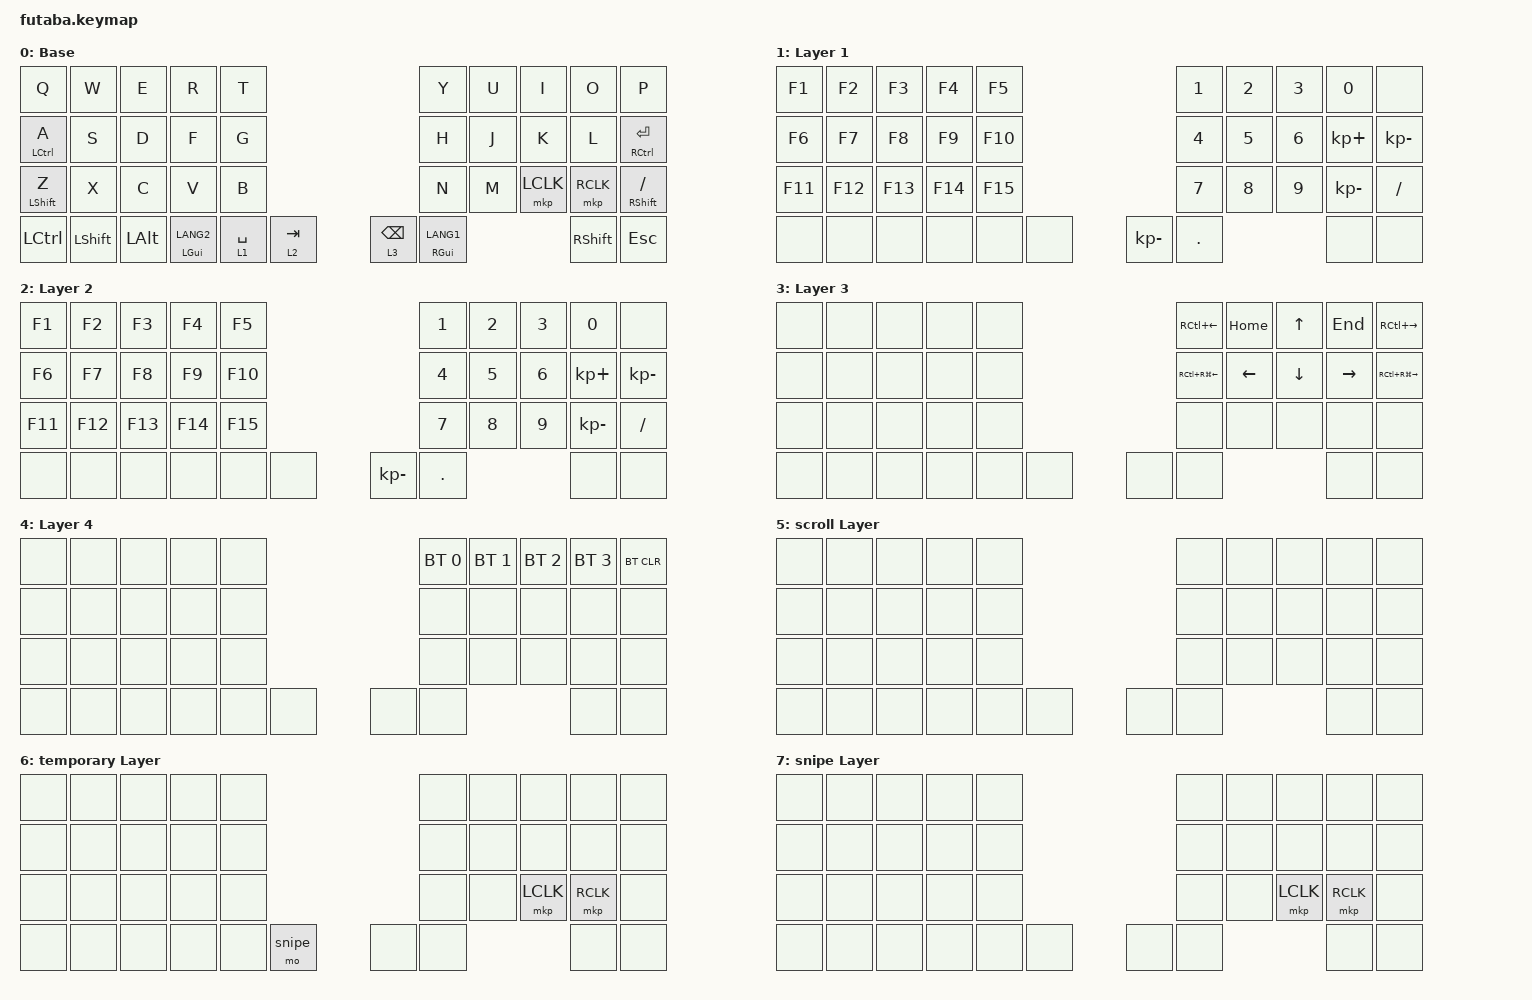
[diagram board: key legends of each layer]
#include <behaviors.dtsi>
#include <dt-bindings/zmk/keys.h>

#include <input/processors.dtsi>
#include <dt-bindings/zmk/bt.h>

#define ZMK_POINTING_DEFAULT_MOVE_VAL 200000  // default: 600
#define ZMK_POINTING_DEFAULT_SCRL_VAL 20    // default: 10
#include <dt-bindings/zmk/pointing.h>

#define scroll 5
#define temporary 6
#define snipe 7

/ {
    combos {
        compatible = "zmk,combos";

        combo_layer4 {
            layers = <0 1 2>;
            timeout-ms = <50>;
            key-positions = <34 35>;
            bindings = <&mo 4>;
            slow-release;
        };
        combo_scroller {
            layers = <0 11>;
            timeout-ms = <50>;
            key-positions = <27 28>;
            bindings = <&mo 10>;
            slow-release; 
        };
    };
};

/ {
keymap {
        compatible = "zmk,keymap";

        default_layer {
            display-name = "Base";
            bindings = <
                           &kp Q &kp W &kp E &kp R &kp T &kp Y &kp U &kp I &kp O &kp P
                           &mt LCTRL A &kp S &kp D &kp F &kp G &kp H &kp J &kp K &kp L &mt RCTRL ENTER
                           &mt LSHIFT Z &kp X &kp C &kp V &kp B &kp N &kp M &mkp LCLK &mkp RCLK &mt RSHIFT SLASH
                           &kp LCTRL &kp LSHIFT &kp LALT &mt LGUI LANG2 &lt 1 SPACE &lt 2 TAB &lt 3 BSPC &mt RGUI LANG1 &kp RSHIFT &kp ESC
            >;
        };
        layer_1 {
            display-name = "Layer 1";
            bindings = <
                           &kp F1 &kp F2 &kp F3 &kp F4 &kp F5 &kp N1 &kp N2 &kp N3 &kp N0 &none
                           &kp F6 &kp F7 &kp F8 &kp F9 &kp F10 &kp N4 &kp N5 &kp N6 &kp KP_PLUS &kp KP_MINUS
                           &kp F11 &kp F12 &kp F13 &kp F14 &kp F15 &kp N7 &kp N8 &kp N9 &kp KP_MINUS &kp SLASH
                           &none &none &none &none &none &none &kp KP_MINUS &kp DOT &none &none
            >;
        };
        layer_2 {
            display-name = "Layer 2";
            bindings = <
                           &kp F1 &kp F2 &kp F3 &kp F4 &kp F5 &kp N1 &kp N2 &kp N3 &kp N0 &none
                           &kp F6 &kp F7 &kp F8 &kp F9 &kp F10 &kp N4 &kp N5 &kp N6 &kp KP_PLUS &kp KP_MINUS
                           &kp F11 &kp F12 &kp F13 &kp F14 &kp F15 &kp N7 &kp N8 &kp N9 &kp KP_MINUS &kp SLASH
                           &none &none &none &none &none &none &kp KP_MINUS &kp DOT &none &none
            >;
        };
        layer_3 {
            display-name = "Layer 3";
            bindings = <
                           &none &none &none &none &none &kp RC(LEFT) &kp HOME &kp UP &kp END &kp RC(RIGHT)
                           &none &none &none &none &none &kp RC(RG(LEFT)) &kp LEFT &kp DOWN &kp RIGHT &kp RC(RG(RIGHT))
                           &none &none &none &none &none &none &none &none &none &none
                           &none &none &none &none &none &none &none &none &none &none
            >;
        };
        layer_4 {
            display-name = "Layer 4";
            bindings = <
                           &none &none &none &none &none &bt BT_SEL 0 &bt BT_SEL 1 &bt BT_SEL 2 &bt BT_SEL 3 &bt BT_CLR
                           &none &none &none &none &none &none &none &none &none &none
                           &none &none &none &none &none &none &none &none &none &none
                           &none &none &none &none &none &none &none &none &none &none
            >;
        };
       scroll { // scroll Layer
            display-name = "scroll Layer";
            bindings = <
                           &none &none &none &none &none &none &none &none &none &none
                           &none &none &none &none &none &none &none &none &none &none
                           &none &none &none &none &none &none &none &none &none &none
                           &none &none &none &none &none &none &none &none &none &none
            >;
        };
        layer_6 { // temporary Layer
            display-name = "temporary Layer";
            bindings = <
                           &none &none &none &none &none &none &none &none &none &none
                           &none &none &none &none &none &none &none &none &none &none
                           &none &none &none &none &none &none &none &mkp LCLK &mkp RCLK &none
                           &none &none &none &none &none &mo snipe &none &none &none &none
            >;
        };
        snipe { // snipe Layer
            display-name = "snipe Layer";
            bindings = <
                           &none &none &none &none &none &none &none &none &none &none
                           &none &none &none &none &none &none &none &none &none &none
                           &none &none &none &none &none &none &none &mkp LCLK &mkp RCLK &none
                           &none &none &none &none &none &none &none &none &none &none
            >;
        };
    };
};

